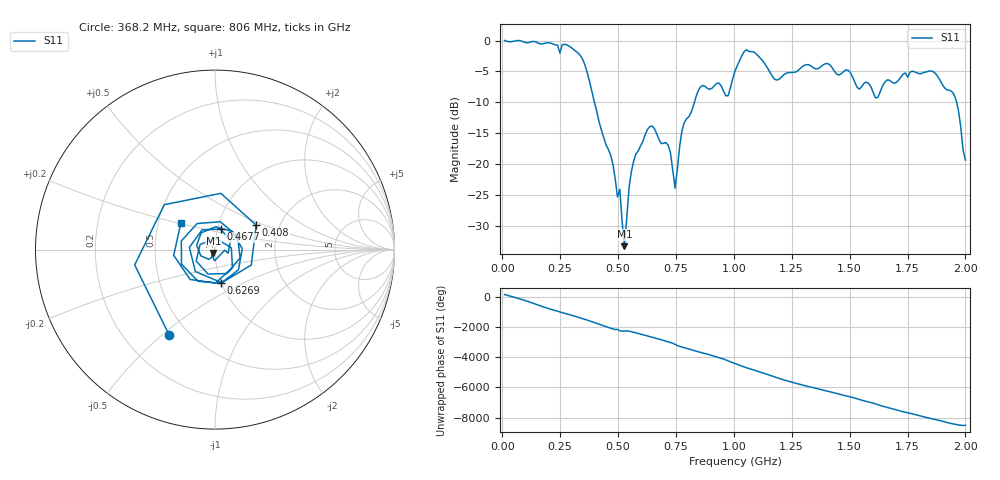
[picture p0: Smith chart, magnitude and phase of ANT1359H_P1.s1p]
!Created with skrf (http://scikit-rf.org).
# Hz S RI R 50.0
!freq ReS11 ImS11
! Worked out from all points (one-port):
!   201 points, 10 MHz to 2 GHz, reference 50 ohm
!   lowest |S11| = -33.3 dB at 527.4 MHz (marker M1), VSWR 1.04, Z = 49 - j1.91 ohm
!   |S11| at or under -10 dB: 397.8 MHz to 829.7 MHz (431.9 MHz wide, 70.4 % of centre); 1.962 GHz to end of sweep
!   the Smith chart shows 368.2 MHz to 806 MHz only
!   S11 on the Smith chart (normalised r, x): 368.2 MHz: 0.39, -0.53; 408 MHz: 1.52, +0.45; 467.7 MHz: 1.04, +0.24; 626.9 MHz: 0.99, -0.39; 806 MHz: 0.65, +0.21
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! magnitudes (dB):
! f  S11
! 10 MHz  0.0
! 258.8 MHz  -0.7
! 368.2 MHz  -5.4
! 408 MHz  -11.5
! 467.7 MHz  -18.5
! 497.6 MHz  -25.3
! 507.5 MHz  -24.1
! 527.4 MHz  -33.3
! 557.2 MHz  -21.3
! 626.9 MHz  -14.4
! 716.5 MHz  -17.0
! 746.3 MHz  -23.9
! 756.2 MHz  -20.8
! 776.1 MHz  -14.6
! 806 MHz  -12.3
! 855.8 MHz  -7.5
! 975.1 MHz  -8.9
! 1.005 GHz  -5.0
! 1.055 GHz  -1.5
! 1.184 GHz  -6.4
! 1.254 GHz  -5.2
! 1.502 GHz  -5.1
! 1.612 GHz  -9.3
! 1.662 GHz  -6.4
! 1.751 GHz  -5.9
! 1.861 GHz  -5.0
! 1.95 GHz  -8.7
! 2 GHz  -19.4
